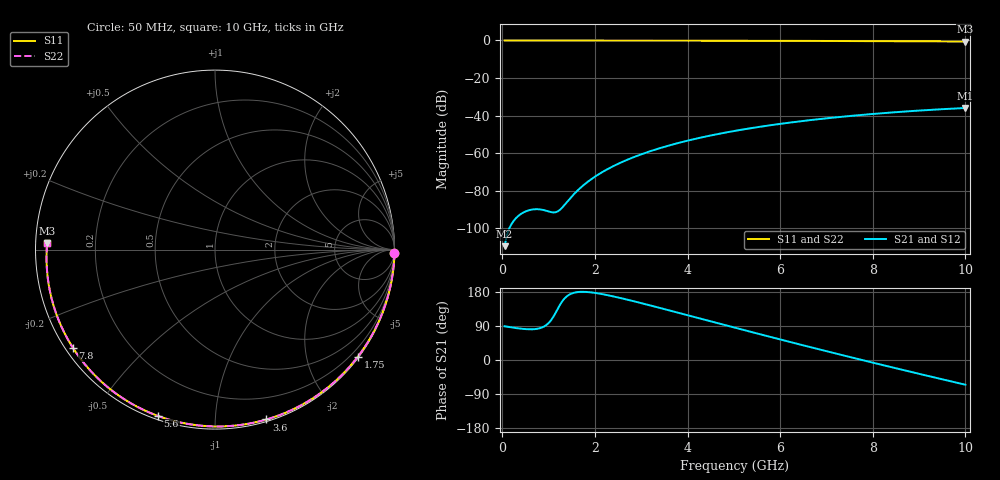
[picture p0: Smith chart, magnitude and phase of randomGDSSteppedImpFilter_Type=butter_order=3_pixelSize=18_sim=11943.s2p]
! freq	dB(S11)	phase(S11)	dB(S12)	phase(S12)
!  dB(S21)	phase(S21)	dB(S22)	phase(S22)
!S-par simulation data
#  GHz  S  DB  R 50
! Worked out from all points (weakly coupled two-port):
!   200 points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, 50 MHz to 10 GHz, reference 50 ohm
!   highest |S21| = -35.92 dB at 10 GHz (marker M1); lowest = -109.4 dB at 50 MHz (marker M2)
!   lowest |S11| = -0.6 dB at 10 GHz (marker M3), VSWR 30.09, Z = 1.66 + j1.01 ohm
!   |S11| at or under -10 dB: nowhere
!   |S22| runs from -0.6 to 0.0 dB; largest |S21 - S12| = 0
!   S11 on the Smith chart (normalised r, x): 50 MHz: open; 1.75 GHz: 0.03, -3.00; 3.6 GHz: 0.02, -1.35; 5.6 GHz: 0.02, -0.71; 7.8 GHz: 0.02, -0.31; 10 GHz: 0.03, +0.02
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0.05  -0.00 -1.1  -109.41 89.0  -109.41 89.0  -0.00 -1.1
0.4  -0.01 -8.6  -92.32 82.7  -92.32 82.7  -0.01 -8.6
0.8  -0.02 -17.1  -89.81 83.5  -89.81 83.5  -0.02 -17.1
1.6  -0.04 -33.7  -80.41 178.8  -80.41 178.8  -0.04 -33.7
1.65  -0.04 -34.8  -79.23 179.5  -79.23 179.5  -0.04 -34.8
1.75  -0.05 -36.8  -77.04 179.9  -77.04 179.9  -0.05 -36.8
2.05  -0.05 -42.9  -71.65 176.2  -71.65 176.2  -0.05 -42.9
2.25  -0.06 -47.0  -68.74 171.7  -68.74 171.7  -0.06 -46.9
2.45  -0.06 -50.9  -66.21 166.4  -66.21 166.4  -0.06 -50.9
2.9  -0.08 -59.8  -61.48 153.2  -61.48 153.2  -0.08 -59.8
3.4  -0.09 -69.4  -57.30 137.5  -57.30 137.5  -0.09 -69.4
3.6  -0.10 -73.2  -55.87 131.1  -55.87 131.1  -0.10 -73.2
4.3  -0.12 -86.1  -51.59 108.5  -51.59 108.5  -0.12 -86.0
5.05  -0.15 -99.4  -47.97 84.4  -47.97 84.4  -0.15 -99.4
5.6  -0.18 -108.9  -45.77 66.9  -45.77 66.9  -0.18 -108.9
6.15  -0.21 -118.2  -43.87 49.5  -43.87 49.5  -0.21 -118.1
6.7  -0.24 -127.3  -42.22 32.5  -42.22 32.5  -0.24 -127.3
7.25  -0.29 -136.3  -40.78 15.6  -40.78 15.6  -0.29 -136.3
7.8  -0.33 -145.3  -39.52 -1.0  -39.52 -1.0  -0.33 -145.3
8.35  -0.38 -154.4  -38.41 -17.4  -38.41 -17.4  -0.38 -154.3
9.2  -0.48 -168.5  -36.98 -42.3  -36.98 -42.3  -0.48 -168.5
10  -0.58 177.7  -35.92 -65.2  -35.92 -65.2  -0.58 177.7
